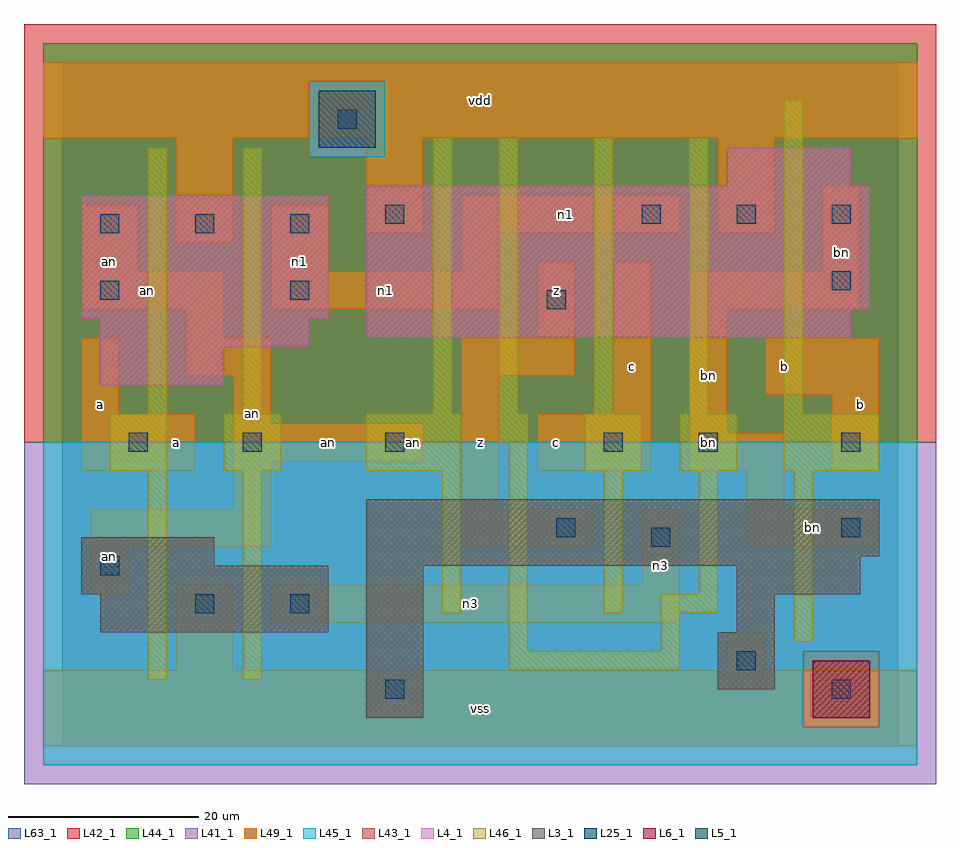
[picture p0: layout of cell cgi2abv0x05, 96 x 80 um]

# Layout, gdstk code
import gdstk
lib = gdstk.Library(unit=1e-6, precision=1e-09)
def R(c, l, rs):  # rectangles x0, y0, x1, y1
    for r in rs: c.add(gdstk.rectangle(r[:2], r[2:], *l))
def A(c, l, x, y, w, h, nx, ny, dx, dy):  # array of equal rectangles
    R(c, l, [(x+i*dx, y+j*dy, x+i*dx+w, y+j*dy+h) for i in range(nx) for j in range(ny)])
L3_1 = (3, 1)
L4_1 = (4, 1)
L5_1 = (5, 1)
L6_1 = (6, 1)
L25_1 = (25, 1)
L41_1 = (41, 1)
L42_1 = (42, 1)
L43_1 = (43, 1)
L44_1 = (44, 1)
L45_1 = (45, 1)
L46_1 = (46, 1)
L49_1 = (49, 1)
L63_1 = (63, 1)

cgi2abv0x05 = lib.new_cell('cgi2abv0x05')
R(cgi2abv0x05, L3_1, [(32,3,38,19), (69,6,75,12), (4,12,28,16), (71,12,75,16), (2,16,28,19), (71,16,84,19), (2,19,16,22), (32,19,84,20), (32,20,86,26)])
R(cgi2abv0x05, L4_1, [(4,38,17,42), (4,42,26,45), (32,43,83,46), (2,45,28,58), (32,46,85,59), (70,59,83,63)])
R(cgi2abv0x05, L5_1, [(27,63,33,69)])
R(cgi2abv0x05, L6_1, [(79,3,85,9), (79,3,85,9)])
A(cgi2abv0x05, L25_1, 4, 54, 2, 2, 3, 1, 10, 0)
A(cgi2abv0x05, L25_1, 61, 55, 2, 2, 3, 1, 10, 0)
R(cgi2abv0x05, L25_1, [(34,5,36,7), (81,5,83,7), (71,8,73,10), (14,14,16,16), (24,14,26,16), (4,18,6,20), (62,21,64,23), (52,22,54,24), (82,22,84,24), (7,31,9,33), (19,31,21,33), (34,31,36,33), (57,31,59,33), (67,31,69,33), (82,31,84,33), (51,46,53,48), (4,47,6,49), (24,47,26,49), (81,48,83,50), (34,55,36,57), (29,65,31,67)])
R(cgi2abv0x05, L41_1, [(-4,-4,92,32)])
R(cgi2abv0x05, L42_1, [(-4,32,92,76)])
R(cgi2abv0x05, L43_1, [(32,3,38,19), (79,3,85,9), (69,6,75,12), (4,12,28,16), (71,12,75,16), (2,16,28,19), (71,16,84,19), (2,19,16,22), (32,19,84,20), (32,20,86,26), (4,38,17,42), (4,42,26,45), (32,43,83,46), (2,45,28,58), (32,46,85,59), (70,59,83,63), (27,63,33,69)])
R(cgi2abv0x05, L44_1, [(78,2,86,10), (-2,32,90,62), (-2,62,26,70), (34,62,90,70), (-2,70,90,74)])
R(cgi2abv0x05, L45_1, [(-2,-2,90,2), (-2,2,78,10), (86,2,90,10), (-2,10,90,32), (26,62,34,70)])
A(cgi2abv0x05, L46_1, 46, 35, 2, 29, 3, 1, 10, 0)
R(cgi2abv0x05, L46_1, [(9,7,11,29), (19,7,21,29), (47,8,65,10), (47,10,49,32), (63,10,65,14), (77,11,79,29), (40,14,42,29), (57,14,59,29), (63,14,69,16), (67,16,69,29), (5,29,11,35), (17,29,23,35), (32,29,42,35), (55,29,61,35), (65,29,71,35), (76,29,86,35), (46,32,49,35), (9,35,11,63), (19,35,21,63), (39,35,41,64), (76,35,78,68)])
R(cgi2abv0x05, L49_1, [(-2,0,90,8), (12,8,18,17), (70,8,74,12), (22,13,65,17), (3,16,7,21), (61,17,65,25), (3,21,22,25), (42,21,56,25), (72,21,86,25), (18,25,22,30), (42,25,46,39), (72,25,76,29), (2,29,14,35), (50,29,62,35), (66,29,76,33), (81,29,86,37), (18,30,38,34), (66,33,70,46), (18,34,22,39), (2,35,6,43), (58,35,62,51), (74,37,86,43), (13,39,22,43), (42,39,54,43), (13,43,17,46), (50,43,54,51), (2,46,17,50), (22,46,46,50), (66,46,84,50), (2,50,8,57), (22,50,28,57), (42,50,46,54), (80,50,84,59), (12,53,18,64), (32,54,38,64), (42,54,65,58), (69,54,75,64), (-2,64,90,72)])
R(cgi2abv0x05, L63_1, [(0,0,88,72)])
cgi2abv0x05.add(gdstk.Label('an', (20,35), layer=46, texttype=1))
cgi2abv0x05.add(gdstk.Label('an', (37,32), layer=46, texttype=1))
cgi2abv0x05.add(gdstk.Label('bn', (68,32), layer=49, texttype=1))
cgi2abv0x05.add(gdstk.Label('an', (5,20), layer=49, texttype=1))
cgi2abv0x05.add(gdstk.Label('a', (12,32), layer=49, texttype=1))
cgi2abv0x05.add(gdstk.Label('a', (4,36), layer=49, texttype=1))
cgi2abv0x05.add(gdstk.Label('an', (5,51), layer=49, texttype=1))
cgi2abv0x05.add(gdstk.Label('an', (9,48), layer=49, texttype=1))
cgi2abv0x05.add(gdstk.Label('n1', (25,51), layer=49, texttype=1))
cgi2abv0x05.add(gdstk.Label('vss', (44,4), layer=49, texttype=1))
cgi2abv0x05.add(gdstk.Label('z', (44,32), layer=49, texttype=1))
cgi2abv0x05.add(gdstk.Label('an', (28,32), layer=49, texttype=1))
cgi2abv0x05.add(gdstk.Label('n1', (34,48), layer=49, texttype=1))
cgi2abv0x05.add(gdstk.Label('vdd', (44,68), layer=49, texttype=1))
cgi2abv0x05.add(gdstk.Label('n3', (63,19), layer=49, texttype=1))
cgi2abv0x05.add(gdstk.Label('n3', (43,15), layer=49, texttype=1))
cgi2abv0x05.add(gdstk.Label('c', (52,32), layer=49, texttype=1))
cgi2abv0x05.add(gdstk.Label('c', (60,40), layer=49, texttype=1))
cgi2abv0x05.add(gdstk.Label('bn', (68,39), layer=49, texttype=1))
cgi2abv0x05.add(gdstk.Label('z', (52,48), layer=49, texttype=1))
cgi2abv0x05.add(gdstk.Label('n1', (53,56), layer=49, texttype=1))
cgi2abv0x05.add(gdstk.Label('bn', (79,23), layer=49, texttype=1))
cgi2abv0x05.add(gdstk.Label('b', (84,36), layer=49, texttype=1))
cgi2abv0x05.add(gdstk.Label('b', (76,40), layer=49, texttype=1))
cgi2abv0x05.add(gdstk.Label('bn', (82,52), layer=49, texttype=1))

lib.write_gds('cgi2abv0x05.gds')
